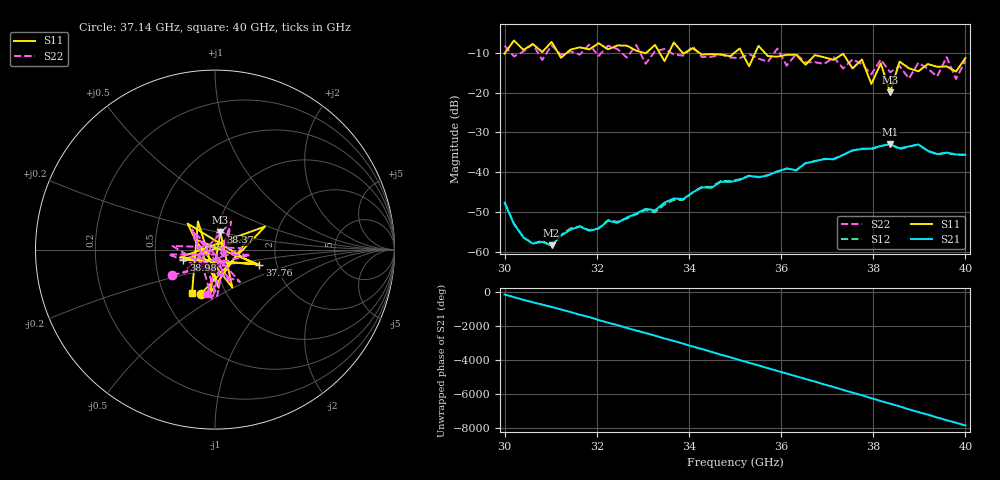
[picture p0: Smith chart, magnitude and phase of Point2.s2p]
! 10/2/2026 3:10:08 PM
! C:\ANRITSUVNA\TEMP\TEMP.S2P
! CHANNEL.1
! TR.MEASUREMENT
! RAW.DATA
# HZ S RI R 50.0
! FREQ.HZ  S11RE  S11IM  S21RE  S21IM  S12RE  S12IM  S22RE  S22IM
!; PortSelection: Port_12
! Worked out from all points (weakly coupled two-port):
!   50 points, 30 GHz to 40 GHz, reference 50 ohm
!   highest |S21| = -32.97 dB at 38.37 GHz (marker M1); lowest = -58.4 dB at 31.02 GHz (marker M2)
!   lowest |S11| = -19.9 dB at 38.37 GHz (marker M3), VSWR 1.23, Z = 52.1 + j10.2 ohm
!   |S11| at or under -10 dB: start of sweep to 30.01165 GHz; 34.23 GHz to 34.99 GHz (761.3 MHz wide, 2.2 % of centre); 35.65 GHz to end of sweep (the widest 3 of 8)
!   |S22| runs from -16.6 to -7.8 dB; largest |S21 - S12| = 0.027
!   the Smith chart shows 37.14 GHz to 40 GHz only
!   S11 on the Smith chart (normalised r, x): 37.14 GHz: 0.76, -0.40; 37.76 GHz: 1.62, -0.29; 38.37 GHz: 1.04, +0.20; 38.98 GHz: 0.70, -0.08; 40 GHz: 0.70, -0.36
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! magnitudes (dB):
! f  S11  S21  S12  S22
! 30 GHz  -10.2  -47.7  -47.6  -8.2
! 30.41 GHz  -9.3  -56.4  -56.4  -9.7
! 31.02 GHz  -7.3  -58.4  -58.6  -8.1
! 31.84 GHz  -9.2  -54.7  -54.6  -7.9
! 33.06 GHz  -10.1  -49.2  -49.5  -12.8
! 33.47 GHz  -12.1  -47.6  -48.1  -9.0
! 33.67 GHz  -7.4  -46.6  -47.0  -10.4
! 35.1 GHz  -8.9  -41.9  -41.8  -11.3
! 35.31 GHz  -13.4  -40.9  -40.9  -10.3
! 35.51 GHz  -8.3  -41.3  -41.2  -11.5
! 36.73 GHz  -10.6  -37.3  -37.2  -12.4
! 37.14 GHz  -11.8  -36.8  -36.6  -11.2
! 37.76 GHz  -11.7  -34.2  -34.1  -12.9
! 37.96 GHz  -17.8  -34.1  -34.2  -15.4
! 38.16 GHz  -12.7  -33.4  -33.4  -11.7
! 38.37 GHz  -19.9  -33.0  -32.9  -14.9
! 38.57 GHz  -12.2  -34.0  -34.2  -13.3
! 38.98 GHz  -14.7  -33.0  -33.1  -12.5
! 39.39 GHz  -13.5  -35.5  -35.6  -15.9
! 39.59 GHz  -13.4  -35.1  -35.2  -11.1
! 39.8 GHz  -14.7  -35.5  -35.6  -16.6
! 40 GHz  -11.3  -35.6  -35.7  -12.0
